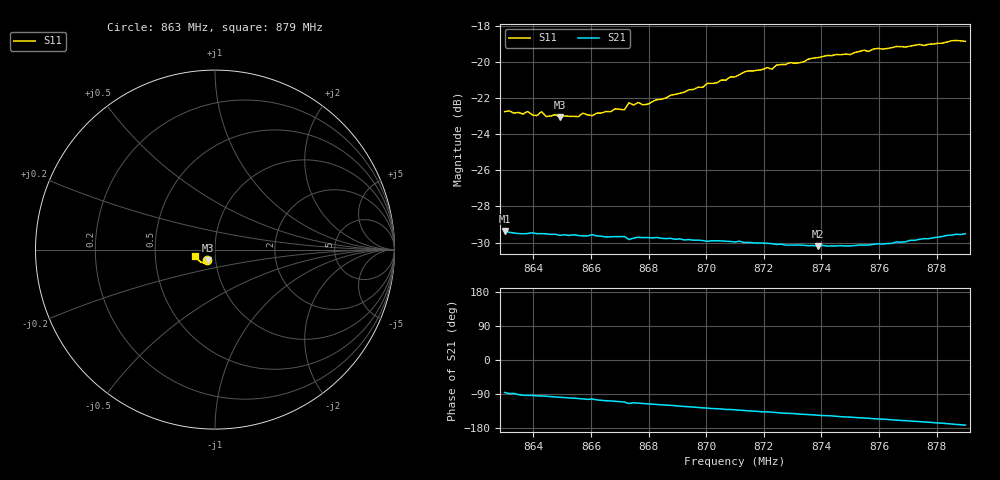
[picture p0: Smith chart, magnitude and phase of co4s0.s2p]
# HZ S RI R 50
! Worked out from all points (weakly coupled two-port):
!   101 points, 863 MHz to 879 MHz, reference 50 ohm
!   highest |S21| = -29.36 dB at 863 MHz (marker M1); lowest = -30.2 dB at 873.88 MHz (marker M2)
!   lowest |S11| = -23.1 dB at 864.92 MHz (marker M3), VSWR 1.15, Z = 46 - j5.41 ohm
!   |S11| at or under -10 dB: start of sweep to end of sweep
!   S12 and S22 are empty: the file has one direction only
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8.63e8  -0.0423 -0.0594  0.00257 -0.0339  0 0  0 0
8.638e8  -0.0437 -0.0584  -0.00193 -0.0334  0 0  0 0
8.6412e8  -0.0398 -0.0589  -0.00281 -0.0333  0 0  0 0
8.6428e8  -0.0409 -0.0603  -0.00284 -0.0334  0 0  0 0
8.6444e8  -0.0398 -0.0584  -0.00318 -0.0333  0 0  0 0
8.6476e8  -0.0405 -0.059  -0.00436 -0.0331  0 0  0 0
8.6492e8  -0.0388 -0.0586  -0.00485 -0.0327  0 0  0 0
8.6572e8  -0.0371 -0.0619  -0.00728 -0.0322  0 0  0 0
8.6604e8  -0.0366 -0.0609  -0.00735 -0.0324  0 0  0 0
8.6684e8  -0.0372 -0.0643  -0.0107 -0.031  0 0  0 0
8.6716e8  -0.0365 -0.0641  -0.0118 -0.0307  0 0  0 0
8.6732e8  -0.0415 -0.065  -0.0135 -0.0293  0 0  0 0
8.678e8  -0.0382 -0.0659  -0.0136 -0.0297  0 0  0 0
8.6844e8  -0.04 -0.068  -0.0155 -0.0286  0 0  0 0
8.71e8  -0.0528 -0.0741  -0.021 -0.0238  0 0  0 0
8.7132e8  -0.0561 -0.0754  -0.0216 -0.023  0 0  0 0
8.7228e8  -0.0617 -0.0731  -0.0232 -0.0212  0 0  0 0
8.7244e8  -0.0645 -0.0739  -0.0235 -0.0206  0 0  0 0
8.7372e8  -0.0735 -0.0716  -0.0254 -0.0179  0 0  0 0
8.7388e8  -0.0749 -0.0706  -0.0256 -0.0174  0 0  0 0
8.7644e8  -0.0942 -0.0562  -0.0291 -0.0118  0 0  0 0
8.79e8  -0.1087 -0.0351  -0.0331 -0.00477  0 0  0 0
